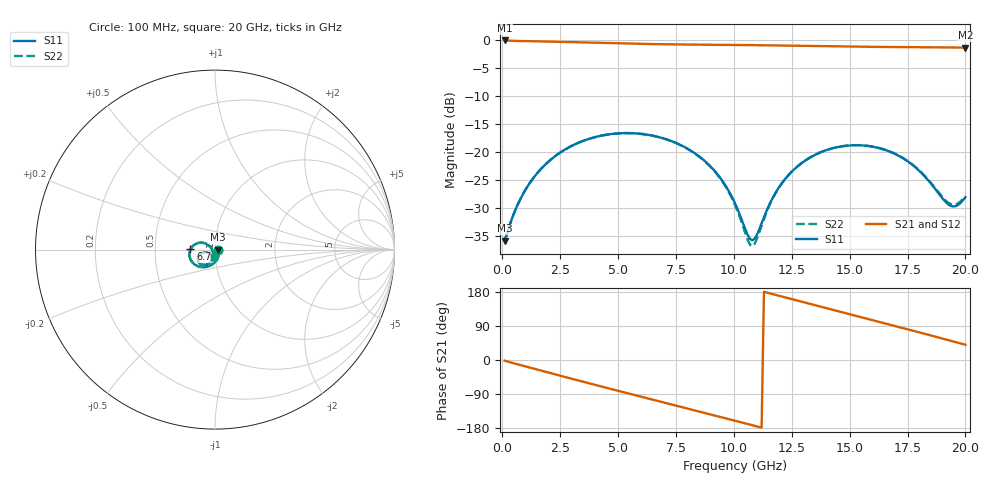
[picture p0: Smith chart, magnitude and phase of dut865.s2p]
! Touchstone file exported from HFSS 2026.1.0
!  File:  C:/ffzhzh/LocalFiles/Ansys_Project_Files/temp_train_TSV_RDL_865_1783271489_30076.aedt
!  Generated:  01:17:11 AM Jul  6, 2026
!  Design:  TSV_RDL
!  Project:  temp_train_TSV_RDL_865_1783271489_30076
! Variables:
!  h_bsmrdl = 4.93um
!  h_ox = 20um
!  h_rdl = 5um
!  h_sub = 74.92um
!  h_tmrdl = 3.82um
!  h_tsv = 74.92um
!  h_via = 3um
!  l_bsmrdl = 814.24um
!  l_sub = 4802.45um
!  l_tmrdl = 453.28um
!  m_sub = 200um
!  pitch = 29.89um
!  r_tsv = 14.04um
!  s_tmrdl = 10um
!  w_bsmrdl = 21.36um
!  w_sub = 500um
!  w_tmrdl = 27.51um
!  x_tsv_center1 = 467.035um
!  x_tsv_center2 = 1302.635um
!  x_tsv_center3 = 1783.425um
!  x_tsv_center4 = 2619.025um
!  x_tsv_center5 = 3099.815um
!  x_tsv_center6 = 3935.415um
# GHz S MA R 50.000000
! Terminal data exported
! Port[1] = TM_RDL1_1_T1
! Port[2] = TM_RDL5_1_T1
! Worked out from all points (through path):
!   200 points, 100 MHz to 20 GHz, reference 50 ohm
!   highest |S21| = -0.14 dB at 100 MHz (marker M1); lowest = -1.4 dB at 20 GHz (marker M2)
!   group delay of S21, straight-line fit = 44 ps
!   lowest |S11| = -35.8 dB at 100 MHz (marker M3), VSWR 1.03, Z = 51.6 - j0.109 ohm
!   |S11| at or under -10 dB: start of sweep to end of sweep
!   |S22| runs from -36.8 to -16.7 dB; largest |S21 - S12| = 1.6e-14
!   S11 on the Smith chart (normalised r, x): 100 MHz: 1.03, -0.00; 6.7 GHz: 0.76, +0.00; 20 GHz: 0.99, -0.08
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0.1  0.01618 -3.7  0.9838 -1.9  0.9838 -1.9  0.01618 -3.7
! Gamma 0 0 0 0
! Port Impedance 50 0 50 0
0.7  0.03516 -52.7  0.9729 -12.0  0.9729 -12.0  0.03514 -52.7
1.4  0.06078 -83.5  0.9672 -23.4  0.9672 -23.4  0.06074 -83.6
2.3  0.0923 -106.6  0.9588 -38.2  0.9588 -38.2  0.09223 -106.7
3.5  0.1257 -129.7  0.9448 -57.5  0.9448 -57.5  0.1255 -129.8
5.1  0.1468 -156.3  0.926 -82.9  0.926 -82.9  0.1465 -156.6
6.7  0.1366 179.4  0.9119 -107.8  0.9119 -107.8  0.1363 179.0
6.8  0.135 178.0  0.9112 -109.4  0.9112 -109.4  0.1346 177.5
8.8  0.08111 152.2  0.9014 -140.6  0.9014 -140.6  0.08048 151.1
9.5  0.05549 147.0  0.8988 -151.6  0.8988 -151.6  0.05466 145.4
10.1  0.03308 150.4  0.8966 -161.1  0.8966 -161.1  0.0319 147.9
10.6  0.01821 176.9  0.8945 -169.0  0.8945 -169.0  0.0164 175.3
10.8  0.01632 -159.1  0.8936 -172.2  0.8936 -172.2  0.01448 -157.5
11.6  0.03621 -108.5  0.8895 175.1  0.8895 175.1  0.03578 -105.5
12  0.05009 -106.7  0.8872 168.7  0.8872 168.7  0.04991 -104.4
13.4  0.09174 -118.1  0.8781 146.5  0.8781 146.5  0.09187 -116.9
15.1  0.1145 -138.8  0.8674 119.5  0.8674 119.5  0.1148 -137.9
16.7  0.1013 -157.1  0.8602 94.1  0.8602 94.1  0.1017 -156.3
17.9  0.07121 -165.2  0.8566 74.7  0.8566 74.7  0.07177 -164.2
19.3  0.03367 -136.0  0.8525 51.9  0.8525 51.9  0.03484 -135.5
19.6  0.03298 -117.5  0.8514 46.9  0.8514 46.9  0.03415 -117.8
20  0.03954 -96.7  0.8496 40.3  0.8496 40.3  0.04047 -97.6
